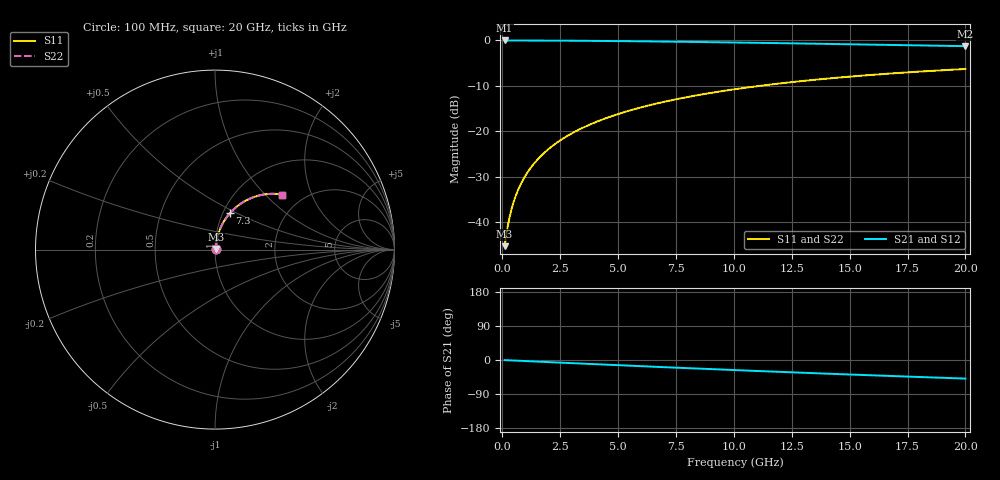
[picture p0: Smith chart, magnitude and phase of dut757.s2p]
! Touchstone file exported from HFSS 2026.1.0
!  File:  C:/ffzhzh/LocalFiles/Ansys_Project_Files/temp_train_BSMRDL_757_1783168973_51560.aedt
!  Generated:  08:44:12 PM Jul  4, 2026
!  Design:  BSMRDL
!  Project:  temp_train_BSMRDL_757_1783168973_51560
! Variables:
!  h_bsmrdl = 4.09um
!  h_ox = 20um
!  h_rdl = 5um
!  h_sub = 80um
!  h_tmrdl = 5um
!  h_tsv = 80um
!  h_via = 3um
!  l_bsmrdl = 712.91um
!  l_sub = 1112.91um
!  l_tmrdl = 200um
!  m_sub = 200um
!  pitch = 43.94um
!  r_tsv = 6um
!  s_tmrdl = 10um
!  w_bsmrdl = 14.78um
!  w_sub = 500um
!  w_tmrdl = 12um
!  x_tsv_center1 = 206um
!  x_tsv_center2 = 933.69um
!  x_tsv_center3 = 1145.69um
!  x_tsv_center4 = 1873.38um
!  x_tsv_center5 = 2085.38um
!  x_tsv_center6 = 2813.07um
# GHz S MA R 50.000000
! Terminal data exported
! Port[1] = BSM_RDL1_1_T1
! Port[2] = BSM_RDL1_1_T2
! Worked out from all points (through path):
!   200 points, 100 MHz to 20 GHz, reference 50 ohm
!   highest |S21| = -0.04 dB at 100 MHz (marker M1); lowest = -1.3 dB at 20 GHz (marker M2)
!   group delay of S21, straight-line fit = 6.81 ps
!   lowest |S11| = -45.3 dB at 100 MHz (marker M3), VSWR 1.01, Z = 50.4 + j0.337 ohm
!   |S11| at or under -10 dB: start of sweep to 11.17 GHz
!   |S22| runs from -45.3 to -6.3 dB; largest |S21 - S12| = 2.7e-15
!   S11 on the Smith chart (normalised r, x): 100 MHz: 1.01, +0.01; 7.3 GHz: 1.08, +0.46; 20 GHz: 1.58, +1.26
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0.1  0.005418 38.0  0.9957 -0.3  0.9957 -0.3  0.005418 38.0
! Gamma 0 0 0 0
! Port Impedance 50 0 50 0
0.2  0.007966 56.2  0.9956 -0.6  0.9956 -0.6  0.007966 56.2
0.3  0.01088 64.8  0.9955 -0.9  0.9955 -0.9  0.01088 64.8
0.4  0.01389 69.5  0.9953 -1.1  0.9953 -1.1  0.01389 69.5
0.5  0.01694 72.4  0.9952 -1.4  0.9952 -1.4  0.01694 72.4
0.6  0.02 74.4  0.995 -1.7  0.995 -1.7  0.02 74.4
0.8  0.02618 76.9  0.9948 -2.2  0.9948 -2.2  0.02618 76.9
1.1  0.03551 78.7  0.9943 -3.1  0.9943 -3.1  0.03551 78.7
1.5  0.04799 79.5  0.9936 -4.2  0.9936 -4.2  0.04799 79.5
1.8  0.05734 79.5  0.9929 -5.0  0.9929 -5.0  0.05734 79.5
2.1  0.06667 79.3  0.9922 -5.8  0.9922 -5.8  0.06667 79.3
2.7  0.08521 78.4  0.9904 -7.5  0.9904 -7.5  0.08521 78.5
3.5  0.1096 76.9  0.9874 -9.7  0.9874 -9.7  0.1096 76.9
4.2  0.1306 75.3  0.9843 -11.6  0.9843 -11.6  0.1306 75.3
5  0.1541 73.4  0.9802 -13.7  0.9802 -13.7  0.1541 73.4
6.8  0.2051 68.9  0.9695 -18.4  0.9695 -18.4  0.2051 69.0
7.3  0.2187 67.7  0.9661 -19.7  0.9661 -19.7  0.2187 67.7
8.6  0.2531 64.6  0.9569 -23.0  0.9569 -23.0  0.2531 64.6
10.1  0.2907 61.0  0.9454 -26.8  0.9454 -26.8  0.2907 61.0
13.4  0.3657 53.3  0.918 -34.7  0.918 -34.7  0.3657 53.4
16.7  0.4297 46.1  0.8896 -42.1  0.8896 -42.1  0.4297 46.2
20  0.4831 39.4  0.8618 -49.0  0.8618 -49.0  0.4831 39.4
